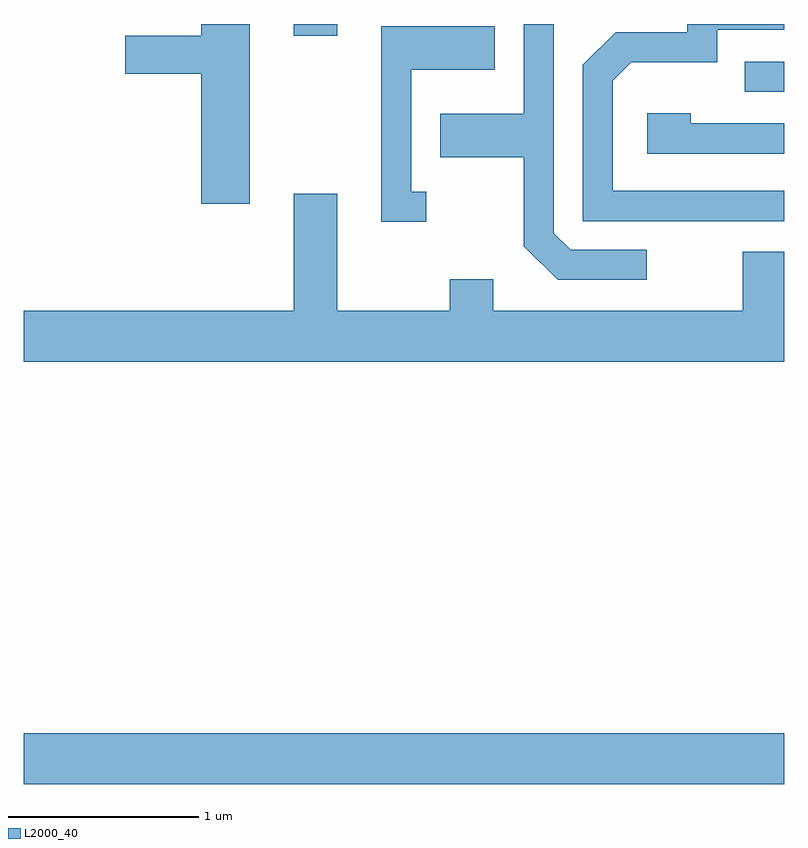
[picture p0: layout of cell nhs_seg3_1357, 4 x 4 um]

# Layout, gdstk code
import gdstk
lib = gdstk.Library(unit=1e-6, precision=1e-09)
def R(c, l, rs):  # rectangles x0, y0, x1, y1
    for r in rs: c.add(gdstk.rectangle(r[:2], r[2:], *l))
def P(c, l, *ps):  # polygons
    for p in ps: c.add(gdstk.Polygon(p, *l))
L2000_40 = (2000, 40)

nhs_seg3_1357 = lib.new_cell('nhs_seg3_1357')
R(nhs_seg3_1357, L2000_40, [(223.611,1245.896,227.611,1246.164), (227.403,1249.536,227.611,1249.694), (225.031,1249.831,225.259,1249.892)])
P(nhs_seg3_1357, L2000_40, [(226.888,1248.704),(226.487,1248.704),(226.399,1248.792),(226.399,1249.892),(226.241,1249.892),(226.241,1249.419),(225.801,1249.419),(225.801,1249.191),(226.241,1249.191),(226.241,1248.724),(226.419,1248.546),(226.888,1248.546)],
  [(224.799,1249.892),(224.546,1249.892),(224.546,1249.829),(224.146,1249.829),(224.146,1249.631),(224.546,1249.631),(224.546,1248.946),(224.799,1248.946)],
  [(227.611,1249.014),(226.709,1249.014),(226.709,1249.594),(226.807,1249.691),(227.259,1249.691),(227.259,1249.861),(227.611,1249.861),(227.611,1249.892),(227.101,1249.892),(227.101,1249.849),(226.724,1249.849),(226.551,1249.677),(226.551,1248.856),(227.611,1248.856)],
  [(225.728,1249.009),(225.649,1249.009),(225.649,1249.651),(226.089,1249.651),(226.089,1249.879),(225.491,1249.879),(225.491,1248.851),(225.728,1248.851)],
  [(227.611,1249.369),(227.119,1249.369),(227.119,1249.424),(226.891,1249.424),(226.891,1249.211),(227.611,1249.211)],
  [(227.611,1248.694),(227.391,1248.694),(227.391,1248.384),(226.079,1248.384),(226.079,1248.549),(225.851,1248.549),(225.851,1248.384),(225.259,1248.384),(225.259,1248.999),(225.031,1248.999),(225.031,1248.384),(223.611,1248.384),(223.611,1248.116),(227.611,1248.116)])

lib.write_gds('nhs_seg3_1357.gds')
